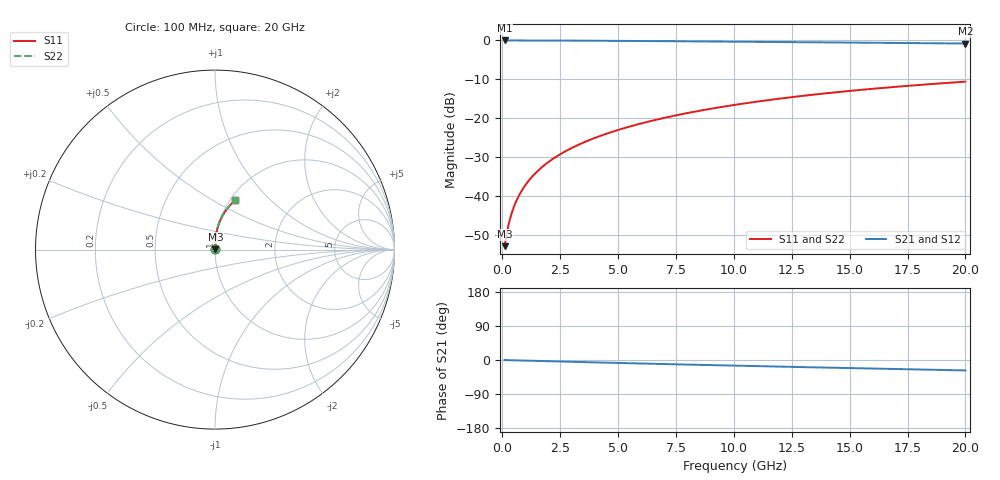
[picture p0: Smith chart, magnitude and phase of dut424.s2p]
! Touchstone file exported from HFSS 2024.1.0
!  File:  C:/UserFiles/LocalFiles/RDL_TSV_Batchsim/temp_RDL_top_424_1779676130.aedt
!  Generated:  10:31:12 AM May 25, 2026
!  Design:  RDL_top
!  Project:  temp_RDL_top_424_1779676130
!  Setup:  Setup1
!  Solution:  Sweep
! Variables:
!  dtsv = 10.80580581um
!  hbump = 3um
!  htsv = 96.78um
!  ldown = 100um
!  lrdl = 336.34um
!  p = 40
!  p1 = 57.72um
!  rhole = 1um
!  t = 450um
!  tdown = 3.915915916um
!  trdl = 3.49um
!  wdown = 15.38538539um
!  wrdl = 22.21um
# GHz S MA R 50.000000
! Terminal data exported
! Port[1] = Box2_T1
! Port[2] = Box2_T2
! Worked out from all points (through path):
!   200 points, 100 MHz to 20 GHz, reference 50 ohm
!   highest |S21| = -0.02 dB at 100 MHz (marker M1); lowest = -0.8 dB at 20 GHz (marker M2)
!   group delay of S21, straight-line fit = 3.79 ps
!   lowest |S11| = -52.8 dB at 100 MHz (marker M3), VSWR 1.00, Z = 50.2 + j0.148 ohm
!   |S11| at or under -10 dB: start of sweep to end of sweep
!   |S22| runs from -52.8 to -10.6 dB; largest |S21 - S12| = 3e-15
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0.1  0.002285 40.1  0.9982 -0.2  0.9982 -0.2  0.002285 40.1
! Gamma 0 0 0 0
! Port Impedance 50 0 50 0
0.2  0.003428 57.9  0.9982 -0.3  0.9982 -0.3  0.003428 57.9
0.3  0.004696 66.2  0.9981 -0.5  0.9981 -0.5  0.004696 66.2
0.4  0.00599 70.9  0.9979 -0.7  0.9979 -0.7  0.00599 70.9
0.5  0.007294 74.0  0.9978 -0.8  0.9978 -0.8  0.007294 74.0
0.6  0.008607 76.2  0.9977 -1.0  0.9977 -1.0  0.008607 76.2
0.8  0.01126 79.2  0.9975 -1.3  0.9975 -1.3  0.01126 79.2
1.1  0.01528 81.9  0.9972 -1.8  0.9972 -1.8  0.01528 81.9
1.5  0.02071 83.8  0.9966 -2.4  0.9966 -2.4  0.02071 83.8
1.8  0.02482 84.7  0.9961 -2.9  0.9961 -2.9  0.02482 84.7
2.1  0.02897 85.3  0.9955 -3.4  0.9955 -3.4  0.02897 85.3
2.7  0.03737 86.1  0.994 -4.3  0.994 -4.3  0.03737 86.1
3.5  0.04878 86.4  0.9916 -5.5  0.9916 -5.5  0.04878 86.4
4.2  0.05897 86.4  0.9892 -6.6  0.9892 -6.6  0.05897 86.4
5  0.07084 86.2  0.9861 -7.8  0.9861 -7.8  0.07084 86.2
5.9  0.08443 85.6  0.9823 -9.1  0.9823 -9.1  0.08444 85.6
6.8  0.09825 84.9  0.9783 -10.4  0.9783 -10.4  0.09825 84.9
8.4  0.1231 83.2  0.9708 -12.7  0.9708 -12.7  0.1231 83.2
10.1  0.1497 81.2  0.9626 -15.0  0.9626 -15.0  0.1497 81.2
13.4  0.2007 76.8  0.9462 -19.3  0.9462 -19.3  0.2007 76.8
16.7  0.2495 72.3  0.9291 -23.5  0.9291 -23.5  0.2495 72.3
20  0.2955 68.0  0.9115 -27.5  0.9115 -27.5  0.2955 68.0
